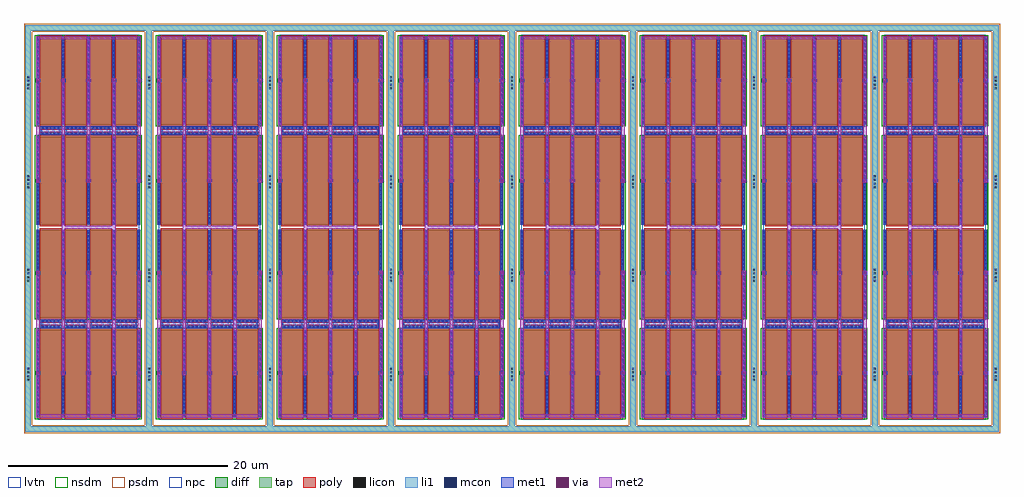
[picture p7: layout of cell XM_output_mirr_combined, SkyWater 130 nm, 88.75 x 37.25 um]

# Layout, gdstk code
import gdstk
lib = gdstk.Library(unit=1e-6, precision=1e-09)
def R(c, l, rs):  # rectangles x0, y0, x1, y1
    for r in rs: c.add(gdstk.rectangle(r[:2], r[2:], *l))
def A(c, l, x, y, w, h, nx, ny, dx, dy):  # array of equal rectangles
    R(c, l, [(x+i*dx, y+j*dy, x+i*dx+w, y+j*dy+h) for i in range(nx) for j in range(ny)])
diff = (65, 20)
tap = (65, 44)
poly = (66, 20)
licon = (66, 44)
li1 = (67, 20)
mcon = (67, 44)
met1 = (68, 20)
via = (68, 44)
met2 = (69, 20)
nsdm = (93, 44)
psdm = (94, 20)
npc = (95, 20)
lvtn = (125, 44)

sky130_fd_pr__nfet_01v8_ = lib.new_cell('sky130_fd_pr__nfet_01v8_lvt_64S6GM')
R(sky130_fd_pr__nfet_01v8_, diff, [(-4.725,-3.845,4.725,4.155)])
A(sky130_fd_pr__nfet_01v8_, poly, -4.435, -4.285, 2, 8.57, 4, 1, 2.29, 0)
A(sky130_fd_pr__nfet_01v8_, licon, -4.2, -4.205, 0.17, 0.17, 5, 1, 0.34, 0)
A(sky130_fd_pr__nfet_01v8_, licon, -1.91, -4.205, 0.17, 0.17, 5, 1, 0.34, 0)
A(sky130_fd_pr__nfet_01v8_, licon, 0.38, -4.205, 0.17, 0.17, 5, 1, 0.34, 0)
A(sky130_fd_pr__nfet_01v8_, licon, 2.67, -4.205, 0.17, 0.17, 5, 1, 0.34, 0)
A(sky130_fd_pr__nfet_01v8_, licon, -4.665, -3.67, 0.17, 0.17, 5, 23, 2.29, 0.34)
A(sky130_fd_pr__nfet_01v8_, li1, -4.435, -4.205, 2, 0.17, 4, 1, 2.29, 0)
A(sky130_fd_pr__nfet_01v8_, li1, -4.665, -3.865, 0.17, 8.04, 5, 1, 2.29, 0)
A(sky130_fd_pr__nfet_01v8_, mcon, -4.24, -4.205, 0.17, 0.17, 5, 1, 0.36, 0)
A(sky130_fd_pr__nfet_01v8_, mcon, -1.95, -4.205, 0.17, 0.17, 5, 1, 0.36, 0)
A(sky130_fd_pr__nfet_01v8_, mcon, 0.34, -4.205, 0.17, 0.17, 5, 1, 0.36, 0)
A(sky130_fd_pr__nfet_01v8_, mcon, 2.63, -4.205, 0.17, 0.17, 5, 1, 0.36, 0)
A(sky130_fd_pr__nfet_01v8_, mcon, -4.665, -3.71, 0.17, 0.17, 5, 22, 2.29, 0.36)
A(sky130_fd_pr__nfet_01v8_, met1, -4.415, -4.235, 1.96, 0.23, 4, 1, 2.29, 0)
A(sky130_fd_pr__nfet_01v8_, met1, -4.695, -3.845, 0.23, 8, 5, 1, 2.29, 0)
R(sky130_fd_pr__nfet_01v8_, nsdm, [(-4.85,-3.97,4.85,4.28)])
A(sky130_fd_pr__nfet_01v8_, npc, -4.3, -4.305, 1.73, 0.37, 4, 1, 2.29, 0)
R(sky130_fd_pr__nfet_01v8_, lvtn, [(-4.615,-4.025,4.615,4.335)])

c_sky130_fd_pr__nfet_01v8_ = lib.new_cell('sky130_fd_pr__nfet_01v8_lvt_64DJ5N')
R(c_sky130_fd_pr__nfet_01v8_, diff, [(-4.725,-4.155,4.725,3.845)])
A(c_sky130_fd_pr__nfet_01v8_, poly, -4.435, -4.285, 2, 8.57, 4, 1, 2.29, 0)
A(c_sky130_fd_pr__nfet_01v8_, licon, -4.665, -3.98, 0.17, 0.17, 5, 23, 2.29, 0.34)
A(c_sky130_fd_pr__nfet_01v8_, licon, -4.2, 4.035, 0.17, 0.17, 5, 1, 0.34, 0)
A(c_sky130_fd_pr__nfet_01v8_, licon, -1.91, 4.035, 0.17, 0.17, 5, 1, 0.34, 0)
A(c_sky130_fd_pr__nfet_01v8_, licon, 0.38, 4.035, 0.17, 0.17, 5, 1, 0.34, 0)
A(c_sky130_fd_pr__nfet_01v8_, licon, 2.67, 4.035, 0.17, 0.17, 5, 1, 0.34, 0)
A(c_sky130_fd_pr__nfet_01v8_, li1, -4.665, -4.175, 0.17, 8.04, 5, 1, 2.29, 0)
A(c_sky130_fd_pr__nfet_01v8_, li1, -4.435, 4.035, 2, 0.17, 4, 1, 2.29, 0)
A(c_sky130_fd_pr__nfet_01v8_, mcon, -4.665, -4.02, 0.17, 0.17, 5, 22, 2.29, 0.36)
A(c_sky130_fd_pr__nfet_01v8_, mcon, -4.24, 4.035, 0.17, 0.17, 5, 1, 0.36, 0)
A(c_sky130_fd_pr__nfet_01v8_, mcon, -1.95, 4.035, 0.17, 0.17, 5, 1, 0.36, 0)
A(c_sky130_fd_pr__nfet_01v8_, mcon, 0.34, 4.035, 0.17, 0.17, 5, 1, 0.36, 0)
A(c_sky130_fd_pr__nfet_01v8_, mcon, 2.63, 4.035, 0.17, 0.17, 5, 1, 0.36, 0)
A(c_sky130_fd_pr__nfet_01v8_, met1, -4.695, -4.155, 0.23, 8, 5, 1, 2.29, 0)
A(c_sky130_fd_pr__nfet_01v8_, met1, -4.415, 4.005, 1.96, 0.23, 4, 1, 2.29, 0)
R(c_sky130_fd_pr__nfet_01v8_, nsdm, [(-4.85,-4.28,4.85,3.97)])
A(c_sky130_fd_pr__nfet_01v8_, npc, -4.3, 3.935, 1.73, 0.37, 4, 1, 2.29, 0)
R(c_sky130_fd_pr__nfet_01v8_, lvtn, [(-4.615,-4.335,4.615,4.025)])

xm_output_mirr = lib.new_cell('XM_output_mirr')
R(xm_output_mirr, tap, [(-1,-27.5,10.5,-27), (-1,-27,-0.5,9), (10,-27,10.5,9), (-1,9,10.5,9.5)])
A(xm_output_mirr, licon, -0.835, -22.845, 0.17, 0.17, 1, 4, 0, 0.34)
A(xm_output_mirr, licon, 10.165, -22.845, 0.17, 0.17, 1, 4, 0, 0.34)
A(xm_output_mirr, licon, -0.835, -13.845, 0.17, 0.17, 1, 4, 0, 0.34)
A(xm_output_mirr, licon, 10.165, -13.845, 0.17, 0.17, 1, 4, 0, 0.34)
A(xm_output_mirr, licon, -0.835, -5.345, 0.17, 0.17, 1, 4, 0, 0.34)
A(xm_output_mirr, licon, 10.165, -5.345, 0.17, 0.17, 1, 4, 0, 0.34)
A(xm_output_mirr, licon, -0.835, 3.655, 0.17, 0.17, 1, 4, 0, 0.34)
A(xm_output_mirr, licon, 10.165, 3.655, 0.17, 0.17, 1, 4, 0, 0.34)
R(xm_output_mirr, li1, [(-1,-27.5,10.5,-27), (-1,-27,-0.5,9), (10,-27,10.5,9), (-1,9,10.5,9.5)])
A(xm_output_mirr, met1, -0.05, -22.3, 0.4, 0.3, 5, 2, 2.3, 9.1)
A(xm_output_mirr, met1, -0.05, -4.8, 0.4, 0.3, 5, 2, 2.3, 9.1)
R(xm_output_mirr, met1, [(0.31,-18.05,9.14,-17.28), (0.31,-0.49,9.14,0.28)])
A(xm_output_mirr, via, 0.075, -22.225, 0.15, 0.15, 5, 2, 2.3, 9.1)
A(xm_output_mirr, via, 0.075, -4.725, 0.15, 0.15, 5, 2, 2.3, 9.1)
A(xm_output_mirr, met2, 0, -25.9, 0.3, 13.05, 3, 2, 4.6, 21.05)
R(xm_output_mirr, met2, [(0,-26.2,9.5,-25.9), (2.3,-22.35,2.6,-9.03), (6.9,-22.35,7.2,-9.03), (2.3,-9.03,7.2,-8.73), (2.3,-8.73,2.6,4.65), (6.9,-8.73,7.2,4.65), (0,8.2,9.5,8.5)])
R(xm_output_mirr, nsdm, [(-0.125,-8.995,9.575,-8.775)])
R(xm_output_mirr, psdm, [(-1.125,-27.625,10.625,-26.875), (-1.125,-26.875,-0.375,8.875), (9.875,-26.875,10.625,8.875), (-1.125,8.875,10.625,9.625)])
A(xm_output_mirr, npc, 0.425, -17.75, 1.73, 0.17, 4, 2, 2.29, 17.56)
R(xm_output_mirr, lvtn, [(0.11,-8.94,9.34,-8.83)])
xm_output_mirr.add(gdstk.Reference(sky130_fd_pr__nfet_01v8_, (4.725,-13.275)))
xm_output_mirr.add(gdstk.Reference(sky130_fd_pr__nfet_01v8_, (4.725,4.285)))
xm_output_mirr.add(gdstk.Reference(c_sky130_fd_pr__nfet_01v8_, (4.725,-22.055)))
xm_output_mirr.add(gdstk.Reference(c_sky130_fd_pr__nfet_01v8_, (4.725,-4.495)))

xm_output_mirr_combined = lib.new_cell('XM_output_mirr_combined')
xm_output_mirr_combined.add(gdstk.Reference(xm_output_mirr, (78.5,28)))
xm_output_mirr_combined.add(gdstk.Reference(xm_output_mirr, (67.5,28)))
xm_output_mirr_combined.add(gdstk.Reference(xm_output_mirr, (56.5,28)))
xm_output_mirr_combined.add(gdstk.Reference(xm_output_mirr, (45.5,28)))
xm_output_mirr_combined.add(gdstk.Reference(xm_output_mirr, (34.5,28)))
xm_output_mirr_combined.add(gdstk.Reference(xm_output_mirr, (23.5,28)))
xm_output_mirr_combined.add(gdstk.Reference(xm_output_mirr, (12.5,28)))
xm_output_mirr_combined.add(gdstk.Reference(xm_output_mirr, (1.5,28)))

lib.write_gds('XM_output_mirr_combined.gds')
